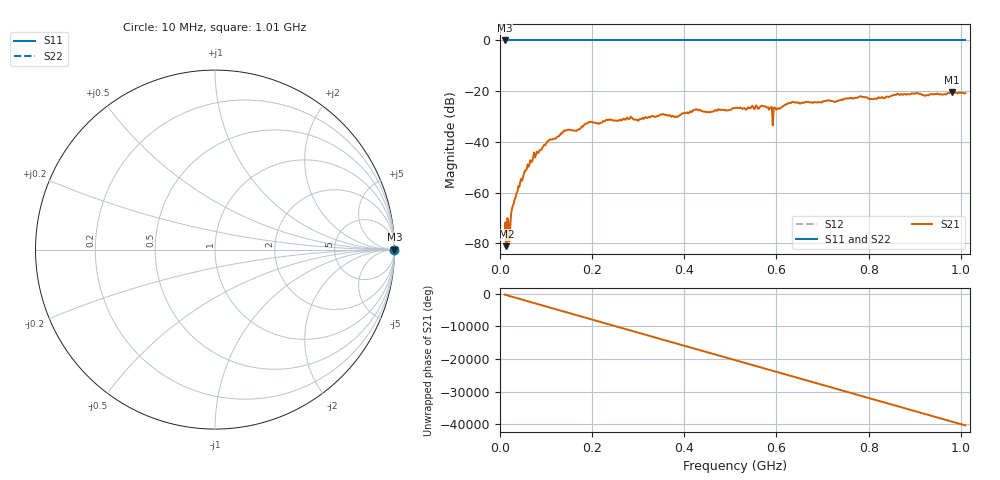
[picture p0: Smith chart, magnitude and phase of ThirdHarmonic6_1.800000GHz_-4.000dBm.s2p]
! 8/16/2025 9:47:04 PM
! C:\ANRITSUVNA\TEMP\TEMP.S2P
! CHANNEL.1
! TR.MEASUREMENT
! RAW.DATA
! RF.CORRECTION.OFF
! AVERAGING.OFF
! IF.BANDWIDTH: 5KHZ
! SWEEPTYPE:  FREQ.SWEEP(Linear)
! Reference Plane Port Info
! PORT:  PORT1  PORT2
! DISTANCE:  0  m  0  m
! TIME:  0  s  0  s
! PHASE.OFFSET:  0  deg.  0  deg.
! LOSS:  0  dB  0  dB
! REF.LOSS:  0  dB  0  dB
! REF.FREQ:  0  Hz  0  Hz
! Power Info
! POWER:  -20  dBm  -20  dBm
! EFF.POWER:  -20  dBm  -20  dBm
! SOURCE.ATTEN:  0  dB  0  dB
! TEST.ATTEN:  0  dB  0  dB
# GHZ S RI R 50.0
! FREQ.GHZ  S11RE  S11IM  S21RE  S21IM  S12RE  S12IM  S22RE  S22IM
!; PortSelection: Port_12
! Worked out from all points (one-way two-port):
!   501 points, 10 MHz to 1.01 GHz, reference 50 ohm
!   highest |S21| = -20.42 dB at 980 MHz (marker M1); lowest = -81.1 dB at 14 MHz (marker M2)
!   lowest |S11| = 0.0 dB at 10 MHz (marker M3)
!   |S11| at or under -10 dB: nowhere
!   |S22| runs from 0.0 to 0.0 dB; largest |S21 - S12| = 1.1
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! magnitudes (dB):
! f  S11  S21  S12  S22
! 10 MHz  0.0  -76.1  0.0  0.0
! 14 MHz  0.0  -81.1  0.0  0.0
! 18 MHz  0.0  -71.2  0.0  0.0
! 24 MHz  0.0  -68.4  0.0  0.0
! 28 MHz  0.0  -65.0  0.0  0.0
! 42 MHz  0.0  -57.6  0.0  0.0
! 76 MHz  0.0  -46.1  0.0  0.0
! 106 MHz  0.0  -39.4  0.0  0.0
! 140 MHz  0.0  -35.5  0.0  0.0
! 178 MHz  0.0  -33.9  0.0  0.0
! 196 MHz  0.0  -32.0  0.0  0.0
! 344 MHz  0.0  -29.8  0.0  0.0
! 382 MHz  0.0  -30.0  0.0  0.0
! 424 MHz  0.0  -27.3  0.0  0.0
! 510 MHz  0.0  -26.6  0.0  0.0
! 572 MHz  0.0  -26.0  0.0  0.0
! 596 MHz  0.0  -26.4  0.0  0.0
! 632 MHz  0.0  -24.6  0.0  0.0
! 678 MHz  0.0  -24.6  0.0  0.0
! 844 MHz  0.0  -22.3  0.0  0.0
! 980 MHz  0.0  -20.4  0.0  0.0
! 1.01 GHz  0.0  -20.8  0.0  0.0
